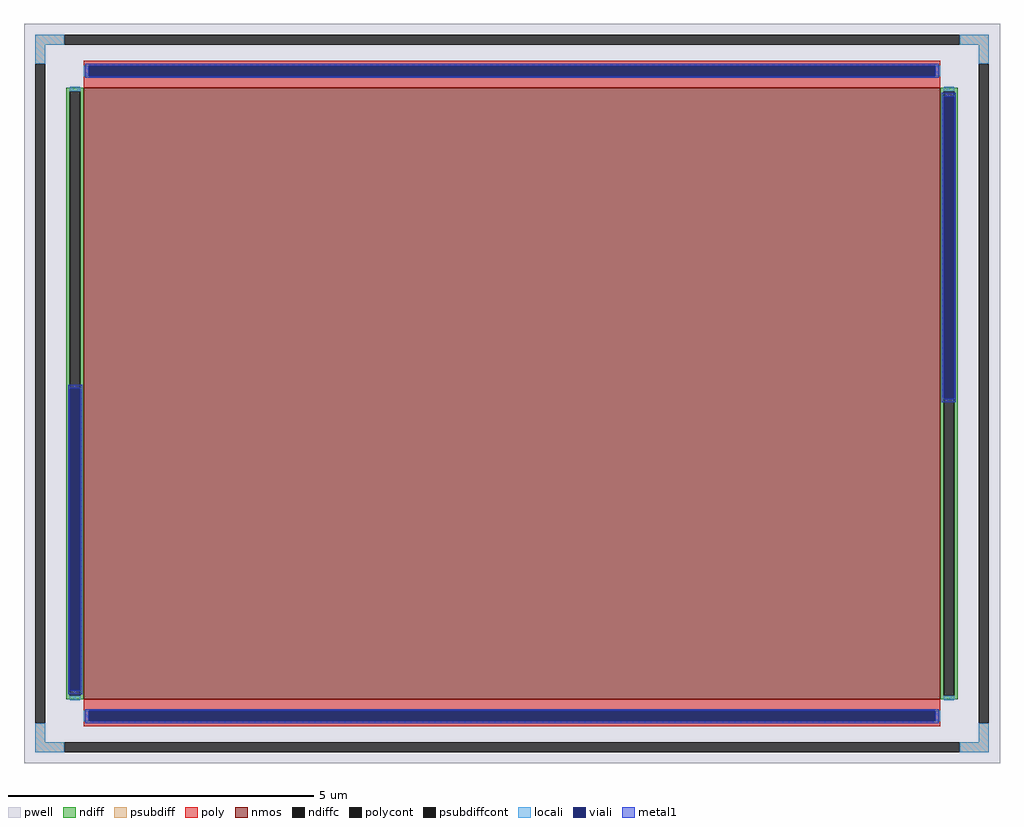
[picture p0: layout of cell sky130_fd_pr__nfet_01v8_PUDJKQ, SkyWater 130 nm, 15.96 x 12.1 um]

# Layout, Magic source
magic
tech sky130A
magscale 1 2
<< pwell >>
rect -1596 -1210 1596 1210
<< nmos >>
rect -1400 -1000 1400 1000
<< ndiff >>
rect -1458 988 -1400 1000
rect -1458 -988 -1446 988
rect -1412 -988 -1400 988
rect -1458 -1000 -1400 -988
rect 1400 988 1458 1000
rect 1400 -988 1412 988
rect 1446 -988 1458 988
rect 1400 -1000 1458 -988
<< ndiffc >>
rect -1446 -988 -1412 988
rect 1412 -988 1446 988
<< psubdiff >>
rect -1560 1140 -1464 1174
rect 1464 1140 1560 1174
rect -1560 1078 -1526 1140
rect 1526 1078 1560 1140
rect -1560 -1140 -1526 -1078
rect 1526 -1140 1560 -1078
rect -1560 -1174 -1464 -1140
rect 1464 -1174 1560 -1140
<< psubdiffcont >>
rect -1464 1140 1464 1174
rect -1560 -1078 -1526 1078
rect 1526 -1078 1560 1078
rect -1464 -1174 1464 -1140
<< poly >>
rect -1400 1072 1400 1088
rect -1400 1038 -1384 1072
rect 1384 1038 1400 1072
rect -1400 1000 1400 1038
rect -1400 -1038 1400 -1000
rect -1400 -1072 -1384 -1038
rect 1384 -1072 1400 -1038
rect -1400 -1088 1400 -1072
<< polycont >>
rect -1384 1038 1384 1072
rect -1384 -1072 1384 -1038
<< locali >>
rect -1560 1140 -1464 1174
rect 1464 1140 1560 1174
rect -1560 1078 -1526 1140
rect 1526 1078 1560 1140
rect -1400 1038 -1384 1072
rect 1384 1038 1400 1072
rect -1446 988 -1412 1004
rect -1446 -1004 -1412 -988
rect 1412 988 1446 1004
rect 1412 -1004 1446 -988
rect -1400 -1072 -1384 -1038
rect 1384 -1072 1400 -1038
rect -1560 -1140 -1526 -1078
rect 1526 -1140 1560 -1078
rect -1560 -1174 -1464 -1140
rect 1464 -1174 1560 -1140
<< viali >>
rect -1384 1038 1384 1072
rect -1446 -971 -1412 17
rect 1412 -17 1446 971
rect -1384 -1072 1384 -1038
<< metal1 >>
rect -1396 1072 1396 1078
rect -1396 1038 -1384 1072
rect 1384 1038 1396 1072
rect -1396 1032 1396 1038
rect 1406 971 1452 983
rect -1452 17 -1406 29
rect -1452 -971 -1446 17
rect -1412 -971 -1406 17
rect 1406 -17 1412 971
rect 1446 -17 1452 971
rect 1406 -29 1452 -17
rect -1452 -983 -1406 -971
rect -1396 -1038 1396 -1032
rect -1396 -1072 -1384 -1038
rect 1384 -1072 1396 -1038
rect -1396 -1078 1396 -1072
<< properties >>
string FIXED_BBOX -1543 -1157 1543 1157
string gencell sky130_fd_pr__nfet_01v8
string library sky130
string parameters w 10 l 14 m 1 nf 1 diffcov 100 polycov 100 guard 1 glc 1 grc 1 gtc 1 gbc 1 tbcov 100 rlcov 100 topc 1 botc 1 poverlap 0 doverlap 1 lmin 0.15 wmin 0.42 compatible {sky130_fd_pr__nfet_01v8 sky130_fd_pr__nfet_01v8_lvt  sky130_fd_bs_flash__special_sonosfet_star  sky130_fd_pr__nfet_g5v0d10v5 sky130_fd_pr__nfet_05v0_nvt  sky130_fd_pr__nfet_03v3_nvt} full_metal 1 viasrc -50 viadrn +50 viagate 100 viagb 0 viagr 0 viagl 0 viagt 0
<< end >>
